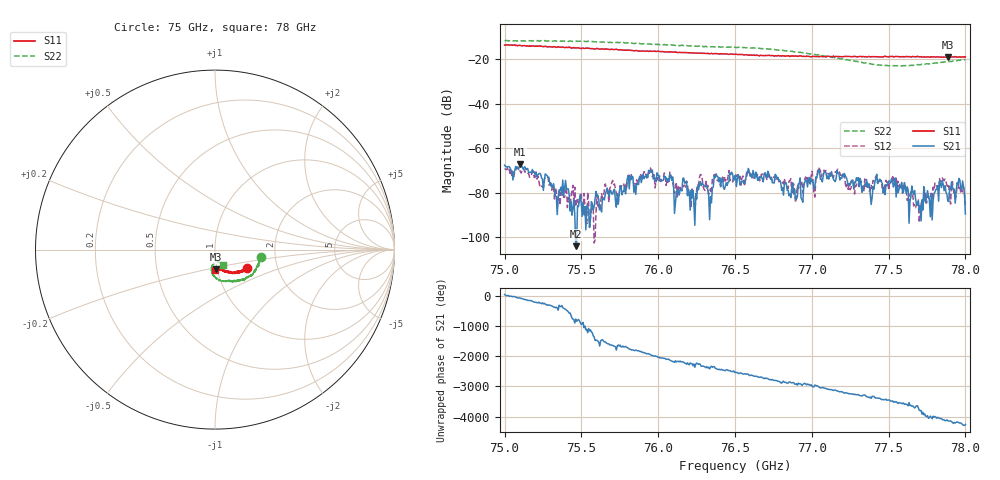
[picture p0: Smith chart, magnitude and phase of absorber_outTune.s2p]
# Hz S MA R 50
! CMT, C4420, 21421029, 25.1.2/3
! Date: 8/6/2025 1:02:58 PM
! Data: Format (Calibration Info)
! Freq	S33:Mag/Ang(F2)	S43:Mag/Ang(F2)	S34:Mag/Ang(F2)	S44:Mag/Ang(F2)
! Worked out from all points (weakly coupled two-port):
!   500 points, 75 GHz to 78 GHz, reference 50 ohm
!   highest |S21| = -67.14 dB at 75.102 GHz (marker M1); lowest = -103.9 dB at 75.463 GHz (marker M2)
!   lowest |S11| = -19.2 dB at 77.886 GHz (marker M3), VSWR 1.25, Z = 49.3 - j10.9 ohm
!   |S11| at or under -10 dB: start of sweep to end of sweep
!   |S22| runs from -23.1 to -11.7 dB; largest |S21 - S12| = 0.00016
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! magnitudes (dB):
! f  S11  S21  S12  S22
! 75 GHz  -13.8  -67.6  -69.1  -11.7
! 75.102 GHz  -13.9  -67.1  -70.5  -11.9
! 75.463 GHz  -15.0  -103.9  -86.1  -11.9
! 75.505 GHz  -15.1  -90.5  -87.5  -12.0
! 75.944 GHz  -16.5  -70.0  -71.2  -13.2
! 76.004 GHz  -16.6  -72.1  -74.9  -13.4
! 76.088 GHz  -16.8  -74.4  -73.3  -13.6
! 76.118 GHz  -16.8  -79.9  -75.4  -13.8
! 76.172 GHz  -17.0  -75.6  -76.6  -14.0
! 76.238 GHz  -17.3  -94.6  -87.7  -14.2
! 76.275 GHz  -17.4  -75.0  -71.8  -14.3
! 76.335 GHz  -17.6  -92.1  -79.3  -14.4
! 76.377 GHz  -17.5  -71.5  -73.4  -14.5
! 76.503 GHz  -17.9  -72.1  -72.3  -14.7
! 76.707 GHz  -18.5  -73.3  -74.0  -15.4
! 76.9 GHz  -18.7  -82.8  -82.2  -16.8
! 77.002 GHz  -18.9  -74.9  -70.4  -17.7
! 77.164 GHz  -18.9  -70.1  -69.8  -19.5
! 77.236 GHz  -18.8  -76.6  -78.4  -20.5
! 77.501 GHz  -19.1  -74.7  -78.8  -23.0
! 77.886 GHz  -19.2  -83.8  -77.8  -21.2
! 78 GHz  -19.0  -89.5  -85.6  -20.3
